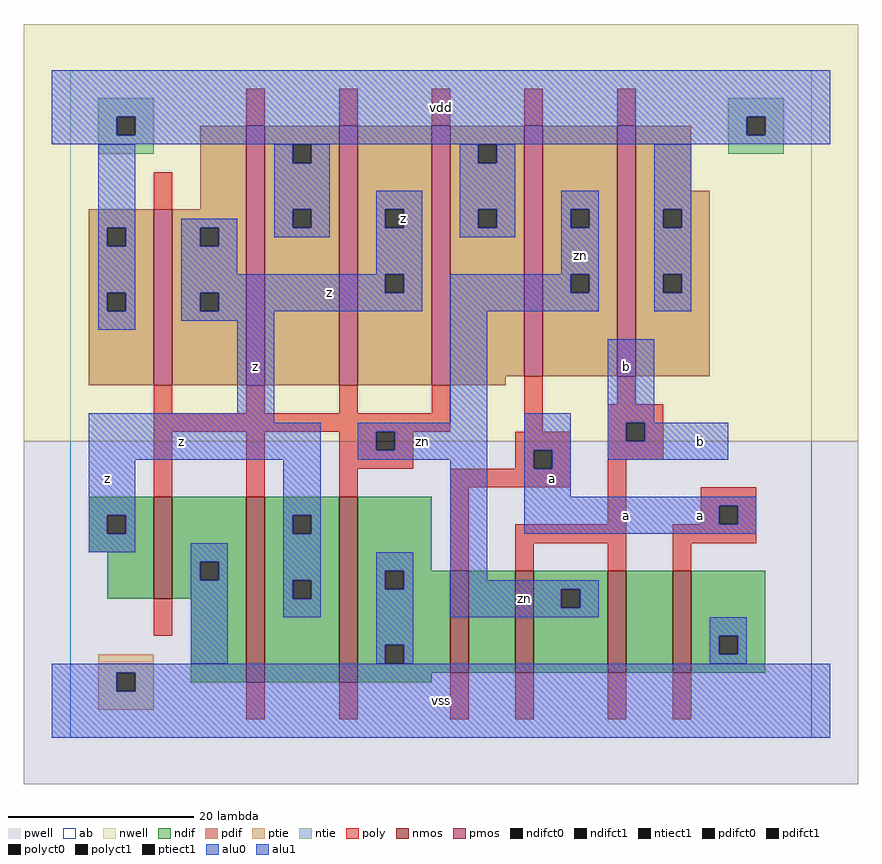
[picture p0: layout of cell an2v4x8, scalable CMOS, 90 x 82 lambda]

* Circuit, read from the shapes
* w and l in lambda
.subckt an2v4x8 a b vdd vss z zn
M1 vss zn z vss nfet w=11 l=2
M2 z zn vss vss nfet w=20 l=2 m=2
M3 n1 a vss vss nfet w=11 l=2
M4 zn b n1 vss nfet w=11 l=2
M5 n2 b zn vss nfet w=11 l=2
M6 vss a n2 vss nfet w=11 l=2
M7 z zn vdd vdd pfet w=19 l=2
M8 vdd zn z vdd pfet w=28 l=2 m=3
M9 zn a vdd vdd pfet w=27 l=2
M10 vdd b zn vdd pfet w=27 l=2
.ends

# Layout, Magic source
magic
tech scmos
<< ab >>
rect 0 0 80 72
<< nwell >>
rect -5 32 85 77
<< pwell >>
rect -5 -5 85 32
<< poly >>
rect 19 66 21 70
rect 29 66 31 70
rect 39 66 41 70
rect 49 66 51 70
rect 59 66 61 70
rect 9 57 11 61
rect 9 35 11 38
rect 19 35 21 38
rect 29 35 31 38
rect 39 35 41 38
rect 9 33 41 35
rect 49 33 51 39
rect 59 36 61 39
rect 58 34 64 36
rect 9 26 11 33
rect 19 26 21 33
rect 29 31 33 33
rect 35 31 37 33
rect 29 29 37 31
rect 48 31 54 33
rect 48 29 50 31
rect 52 29 54 31
rect 29 26 31 29
rect 41 27 54 29
rect 58 32 60 34
rect 62 32 64 34
rect 58 30 64 32
rect 9 11 11 15
rect 41 18 43 27
rect 58 23 60 30
rect 68 25 74 27
rect 68 23 70 25
rect 72 23 74 25
rect 48 21 60 23
rect 48 18 50 21
rect 58 18 60 21
rect 65 21 74 23
rect 65 18 67 21
rect 19 2 21 6
rect 29 2 31 6
rect 41 2 43 7
rect 48 2 50 7
rect 58 2 60 7
rect 65 2 67 7
<< ndif >>
rect 2 24 9 26
rect 2 22 4 24
rect 6 22 9 24
rect 2 20 9 22
rect 4 15 9 20
rect 11 19 19 26
rect 11 17 14 19
rect 16 17 19 19
rect 11 15 19 17
rect 13 6 19 15
rect 21 24 29 26
rect 21 22 24 24
rect 26 22 29 24
rect 21 17 29 22
rect 21 15 24 17
rect 26 15 29 17
rect 21 6 29 15
rect 31 18 39 26
rect 31 16 34 18
rect 36 16 41 18
rect 31 10 41 16
rect 31 8 34 10
rect 36 8 41 10
rect 31 7 41 8
rect 43 7 48 18
rect 50 16 58 18
rect 50 14 53 16
rect 55 14 58 16
rect 50 7 58 14
rect 60 7 65 18
rect 67 11 75 18
rect 67 9 70 11
rect 72 9 75 11
rect 67 7 75 9
rect 31 6 39 7
<< pdif >>
rect 14 57 19 66
rect 2 55 9 57
rect 2 53 4 55
rect 6 53 9 55
rect 2 48 9 53
rect 2 46 4 48
rect 6 46 9 48
rect 2 38 9 46
rect 11 55 19 57
rect 11 53 14 55
rect 16 53 19 55
rect 11 48 19 53
rect 11 46 14 48
rect 16 46 19 48
rect 11 38 19 46
rect 21 64 29 66
rect 21 62 24 64
rect 26 62 29 64
rect 21 57 29 62
rect 21 55 24 57
rect 26 55 29 57
rect 21 38 29 55
rect 31 57 39 66
rect 31 55 34 57
rect 36 55 39 57
rect 31 50 39 55
rect 31 48 34 50
rect 36 48 39 50
rect 31 38 39 48
rect 41 64 49 66
rect 41 62 44 64
rect 46 62 49 64
rect 41 57 49 62
rect 41 55 44 57
rect 46 55 49 57
rect 41 39 49 55
rect 51 57 59 66
rect 51 55 54 57
rect 56 55 59 57
rect 51 50 59 55
rect 51 48 54 50
rect 56 48 59 50
rect 51 39 59 48
rect 61 59 67 66
rect 61 57 69 59
rect 61 55 64 57
rect 66 55 69 57
rect 61 50 69 55
rect 61 48 64 50
rect 66 48 69 50
rect 61 39 69 48
rect 41 38 47 39
<< alu1 >>
rect -2 67 82 72
rect -2 65 5 67
rect 7 65 73 67
rect 75 65 82 67
rect -2 64 82 65
rect 12 55 18 56
rect 12 53 14 55
rect 16 53 18 55
rect 33 57 38 59
rect 33 55 34 57
rect 36 55 38 57
rect 12 50 18 53
rect 33 50 38 55
rect 12 48 34 50
rect 36 48 38 50
rect 12 46 14 48
rect 16 46 38 48
rect 12 45 22 46
rect 18 35 22 45
rect 2 34 22 35
rect 2 30 27 34
rect 2 24 7 30
rect 2 22 4 24
rect 6 22 7 24
rect 2 20 7 22
rect 23 24 27 30
rect 23 22 24 24
rect 26 22 27 24
rect 23 17 27 22
rect 23 15 24 17
rect 26 15 27 17
rect 23 13 27 15
rect 49 31 54 35
rect 49 29 50 31
rect 52 29 54 31
rect 58 34 63 43
rect 58 32 60 34
rect 62 32 71 34
rect 58 30 71 32
rect 49 26 54 29
rect 49 25 74 26
rect 49 23 70 25
rect 72 23 74 25
rect 49 22 74 23
rect -2 7 82 8
rect -2 5 5 7
rect 7 5 82 7
rect -2 0 82 5
<< ptie >>
rect 3 7 9 9
rect 3 5 5 7
rect 7 5 9 7
rect 3 3 9 5
<< ntie >>
rect 3 67 9 69
rect 3 65 5 67
rect 7 65 9 67
rect 71 67 77 69
rect 3 63 9 65
rect 71 65 73 67
rect 75 65 77 67
rect 71 63 77 65
<< nmos >>
rect 9 15 11 26
rect 19 6 21 26
rect 29 6 31 26
rect 41 7 43 18
rect 48 7 50 18
rect 58 7 60 18
rect 65 7 67 18
<< pmos >>
rect 9 38 11 57
rect 19 38 21 66
rect 29 38 31 66
rect 39 38 41 66
rect 49 39 51 66
rect 59 39 61 66
<< polyct0 >>
rect 33 31 35 33
<< polyct1 >>
rect 50 29 52 31
rect 60 32 62 34
rect 70 23 72 25
<< ndifct0 >>
rect 14 17 16 19
rect 34 16 36 18
rect 34 8 36 10
rect 53 14 55 16
rect 70 9 72 11
<< ndifct1 >>
rect 4 22 6 24
rect 24 22 26 24
rect 24 15 26 17
<< ntiect1 >>
rect 5 65 7 67
rect 73 65 75 67
<< ptiect1 >>
rect 5 5 7 7
<< pdifct0 >>
rect 4 53 6 55
rect 4 46 6 48
rect 24 62 26 64
rect 24 55 26 57
rect 44 62 46 64
rect 44 55 46 57
rect 54 55 56 57
rect 54 48 56 50
rect 64 55 66 57
rect 64 48 66 50
<< pdifct1 >>
rect 14 53 16 55
rect 14 46 16 48
rect 34 55 36 57
rect 34 48 36 50
<< alu0 >>
rect 3 55 7 64
rect 22 62 24 64
rect 26 62 28 64
rect 22 57 28 62
rect 42 62 44 64
rect 46 62 48 64
rect 3 53 4 55
rect 6 53 7 55
rect 3 48 7 53
rect 3 46 4 48
rect 6 46 7 48
rect 3 44 7 46
rect 22 55 24 57
rect 26 55 28 57
rect 22 54 28 55
rect 42 57 48 62
rect 42 55 44 57
rect 46 55 48 57
rect 42 54 48 55
rect 53 57 57 59
rect 53 55 54 57
rect 56 55 57 57
rect 53 50 57 55
rect 41 48 54 50
rect 56 48 57 50
rect 41 46 57 48
rect 63 57 67 64
rect 63 55 64 57
rect 66 55 67 57
rect 63 50 67 55
rect 63 48 64 50
rect 66 48 67 50
rect 63 46 67 48
rect 41 34 45 46
rect 31 33 45 34
rect 31 31 33 33
rect 35 31 45 33
rect 31 30 45 31
rect 13 19 17 21
rect 13 17 14 19
rect 16 17 17 19
rect 13 8 17 17
rect 33 18 37 20
rect 33 16 34 18
rect 36 16 37 18
rect 33 10 37 16
rect 41 17 45 30
rect 41 16 57 17
rect 41 14 53 16
rect 55 14 57 16
rect 41 13 57 14
rect 33 8 34 10
rect 36 8 37 10
rect 69 11 73 13
rect 69 9 70 11
rect 72 9 73 11
rect 69 8 73 9
<< labels >>
rlabel alu0 49 15 49 15 6 zn
rlabel alu0 38 32 38 32 6 zn
rlabel alu0 55 52 55 52 6 zn
rlabel alu1 4 28 4 28 6 z
rlabel alu1 12 32 12 32 6 z
rlabel alu1 20 40 20 40 6 z
rlabel alu1 28 48 28 48 6 z
rlabel alu1 36 56 36 56 6 z
rlabel alu1 40 4 40 4 6 vss
rlabel alu1 52 28 52 28 6 a
rlabel alu1 40 68 40 68 6 vdd
rlabel alu1 60 24 60 24 6 a
rlabel alu1 68 32 68 32 6 b
rlabel alu1 68 24 68 24 6 a
rlabel alu1 60 40 60 40 6 b
<< end >>
